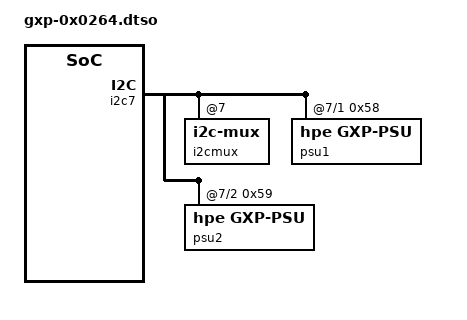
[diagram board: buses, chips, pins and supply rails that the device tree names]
// SPDX-License-Identifier: GPL-2.0
/dts-v1/;
/plugin/;
&{/} {
	model = "HPE ProLiant DL320 Gen12";
	compatible = "hpe,gxp-dl320gen12", "hpe,gxp";

	aliases {
		/* i2cmux@7 */
		i2c40 = "/ahb@80000000/i2cmux@7/i2c7@1";
		i2c41 = "/ahb@80000000/i2cmux@7/i2c7@2";

		/* i2cmux@3 */
		i2c48 = "/ahb@80000000/i2cmux@3/i2c3@1";
		i2c49 = "/ahb@80000000/i2cmux@3/i2c3@2";
		i2c50 = "/ahb@80000000/i2cmux@3/i2c3@3";
		i2c51 = "/ahb@80000000/i2cmux@3/i2c3@4";
		i2c52 = "/ahb@80000000/i2cmux@3/i2c3@5";
		i2c53 = "/ahb@80000000/i2cmux@3/i2c3@6";
		i2c54 = "/ahb@80000000/i2cmux@3/i2c3@7";
		i2c55 = "/ahb@80000000/i2cmux@3/i2c3@8";
		i2c56 = "/ahb@80000000/i2cmux@3/i2c3@9";
		i2c57 = "/ahb@80000000/i2cmux@3/i2c3@a";
		i2c58 = "/ahb@80000000/i2cmux@3/i2c3@b";
		i2c59 = "/ahb@80000000/i2cmux@3/i2c3@c";
		i2c60 = "/ahb@80000000/i2cmux@3/i2c3@d";
		i2c61 = "/ahb@80000000/i2cmux@3/i2c3@e";
		i2c62 = "/ahb@80000000/i2cmux@3/i2c3@f";
		i2c63 = "/ahb@80000000/i2cmux@3/i2c3@10";
		i2c64 = "/ahb@80000000/i2cmux@3/i2c3@11";
		i2c65 = "/ahb@80000000/i2cmux@3/i2c3@12";
		i2c68 = "/ahb@80000000/i2cmux@3/i2c3@15";
		i2c69 = "/ahb@80000000/i2cmux@3/i2c3@16";
		i2c70 = "/ahb@80000000/i2cmux@3/i2c3@17";
		i2c71 = "/ahb@80000000/i2cmux@3/i2c3@18";
	};
};
&{/ahb@80000000} {
	/include/ "gxp-ubm-mux3.dtsi"
	i2cmux@7 {
		compatible = "i2c-mux";
		i2c-parent = <&i2c7>;
		mux-controls = <&i2c_mux_ctrl 7>;
		#address-cells = <1>;
		#size-cells = <0>;
		i2c7@1 {
			reg = <1>;
			#address-cells = <1>;
			#size-cells = <0>;
			psu1: psu@58 {
				compatible = "hpe,gxp-psu";
				reg = <0x58>;
			};
		};
		i2c7@2 {
			reg = <2>;
			#address-cells = <1>;
			#size-cells = <0>;
			psu2: psu@59 {
				compatible = "hpe,gxp-psu";
				reg = <0x59>;
			};
		};
	};
	syspower: syspower {
		compatible = "hpe,gxp-power";
		psu_phandle = <&psu1>, <&psu2>;
	};
};
